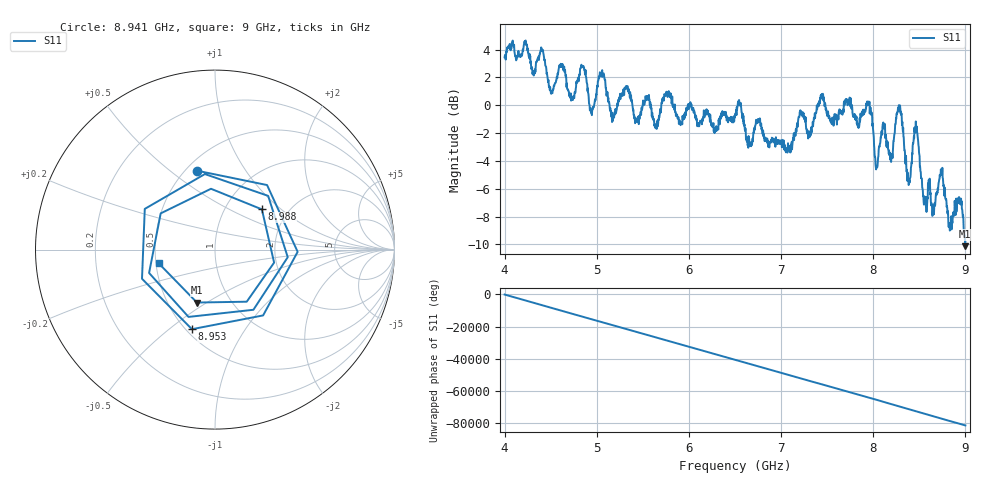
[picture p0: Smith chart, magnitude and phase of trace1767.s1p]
! Created with skrf 1.8.0 (http://scikit-rf.org).
# Hz S RI R 50.0
!freq ReS11 ImS11
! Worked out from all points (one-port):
!   1601 points, 4 GHz to 9 GHz, reference 50 ohm
!   lowest |S11| = -10.1 dB at 8.997 GHz (marker M1), VSWR 1.91, Z = 34.8 - j22.7 ohm
!   |S11| at or under -10 dB: 8.996493 GHz to 8.998226 GHz (1.733 MHz wide, 0.0193 % of centre)
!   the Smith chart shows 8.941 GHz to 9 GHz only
!   S11 on the Smith chart (normalised r, x): 8.941 GHz: 0.57, +0.63; 8.953 GHz: 0.54, -0.60; 8.988 GHz: 1.48, +0.75; 9 GHz: 0.52, -0.09
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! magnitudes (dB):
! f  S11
! 4 GHz  3.4
! 4.403 GHz  4.0
! 4.506 GHz  0.8
! 4.625 GHz  2.8
! 4.731 GHz  0.6
! 4.853 GHz  2.8
! 4.944 GHz  -0.5
! 5.053 GHz  2.1
! 5.162 GHz  -0.5
! 5.25 GHz  0.5
! 5.875 GHz  -0.9
! 6.5 GHz  -0.8
! 7.125 GHz  -2.7
! 7.75 GHz  0.2
! 7.959 GHz  0.3
! 8.038 GHz  -4.5
! 8.109 GHz  -1.2
! 8.194 GHz  -4.1
! 8.284 GHz  -0.3
! 8.375 GHz  -5.4
! 8.462 GHz  -1.2
! 8.562 GHz  -6.9
! 8.734 GHz  -4.6
! 8.941 GHz  -6.9
! 8.953 GHz  -6.7
! 8.988 GHz  -9.3
! 8.997 GHz  -10.1
! 9 GHz  -9.8
